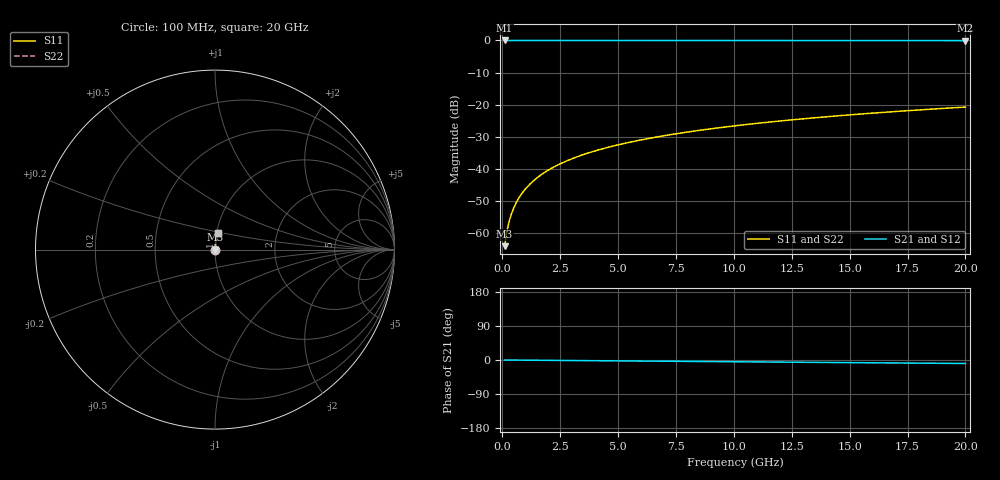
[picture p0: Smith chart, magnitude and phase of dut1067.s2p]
! Touchstone file exported from HFSS 2026.1.0
!  File:  C:/ffzhzh/LocalFiles/Ansys_Project_Files/temp_train_TSV_1067_1783189825_43440.aedt
!  Generated:  02:32:15 AM Jul  5, 2026
!  Design:  TSV
!  Project:  temp_train_TSV_1067_1783189825_43440
! Variables:
!  h_bsmrdl = 2um
!  h_ox = 20um
!  h_rdl = 5um
!  h_sub = 69.25um
!  h_tmrdl = 5um
!  h_tsv = 69.25um
!  h_via = 3um
!  l_bsmrdl = 300um
!  l_sub = 409.56um
!  l_tmrdl = 200um
!  m_sub = 200um
!  pitch = 52.16um
!  r_tsv = 4.78um
!  s_tmrdl = 10um
!  w_bsmrdl = 18um
!  w_sub = 500um
!  w_tmrdl = 12um
!  x_tsv_center1 = 206um
!  x_tsv_center2 = 524um
!  x_tsv_center3 = 736um
!  x_tsv_center4 = 1054um
!  x_tsv_center5 = 1266um
!  x_tsv_center6 = 1584um
# GHz S MA R 50.000000
! Terminal data exported
! Port[1] = TSV1_1_T1
! Port[2] = TSV1_1_T2
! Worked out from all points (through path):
!   200 points, 100 MHz to 20 GHz, reference 50 ohm
!   highest |S21| = 0.00 dB at 100 MHz (marker M1); lowest = -0.1 dB at 20 GHz (marker M2)
!   group delay of S21, straight-line fit = 1.27 ps
!   lowest |S11| = -64.1 dB at 100 MHz (marker M3), VSWR 1.00, Z = 50 + j0.0499 ohm
!   |S11| at or under -10 dB: start of sweep to end of sweep
!   |S22| runs from -64.1 to -20.7 dB; largest |S21 - S12| = 2e-15
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0.1  0.0006258 52.7  0.9996 -0.0  0.9996 -0.0  0.0006258 52.7
! Gamma 0 0 0 0
! Port Impedance 50 0 50 0
0.2  0.001067 68.6  0.9996 -0.1  0.9996 -0.1  0.001067 68.6
0.3  0.001539 74.8  0.9996 -0.1  0.9996 -0.1  0.001539 74.8
0.4  0.002017 78.0  0.9996 -0.2  0.9996 -0.2  0.002017 78.0
0.5  0.002495 79.9  0.9996 -0.2  0.9996 -0.2  0.002495 79.9
0.7  0.003449 82.1  0.9995 -0.3  0.9995 -0.3  0.003449 82.1
0.8  0.003925 82.8  0.9995 -0.4  0.9995 -0.4  0.003925 82.8
1  0.004877 83.8  0.9995 -0.5  0.9995 -0.5  0.004877 83.8
1.2  0.005828 84.4  0.9995 -0.6  0.9995 -0.6  0.005828 84.4
1.4  0.006779 84.9  0.9994 -0.7  0.9994 -0.7  0.006779 84.9
1.7  0.008204 85.3  0.9994 -0.8  0.9994 -0.8  0.008204 85.3
2  0.009626 85.5  0.9994 -0.9  0.9994 -0.9  0.009626 85.5
2.7  0.01293 85.7  0.9992 -1.3  0.9992 -1.3  0.01293 85.7
3.5  0.01669 85.7  0.9991 -1.6  0.9991 -1.6  0.01669 85.7
4.2  0.01996 85.6  0.9989 -2.0  0.9989 -2.0  0.01996 85.6
5  0.02367 85.4  0.9988 -2.3  0.9988 -2.3  0.02367 85.4
6.8  0.03197 84.8  0.9984 -3.2  0.9984 -3.2  0.03197 84.8
8.3  0.03885 84.3  0.998 -3.9  0.998 -3.9  0.03885 84.3
10.1  0.04707 83.6  0.9975 -4.7  0.9975 -4.7  0.04707 83.6
13.4  0.06208 82.4  0.9965 -6.2  0.9965 -6.2  0.06208 82.4
16.7  0.07699 81.0  0.9953 -7.7  0.9953 -7.7  0.07699 81.0
20  0.09177 79.6  0.9938 -9.2  0.9938 -9.2  0.09177 79.6
